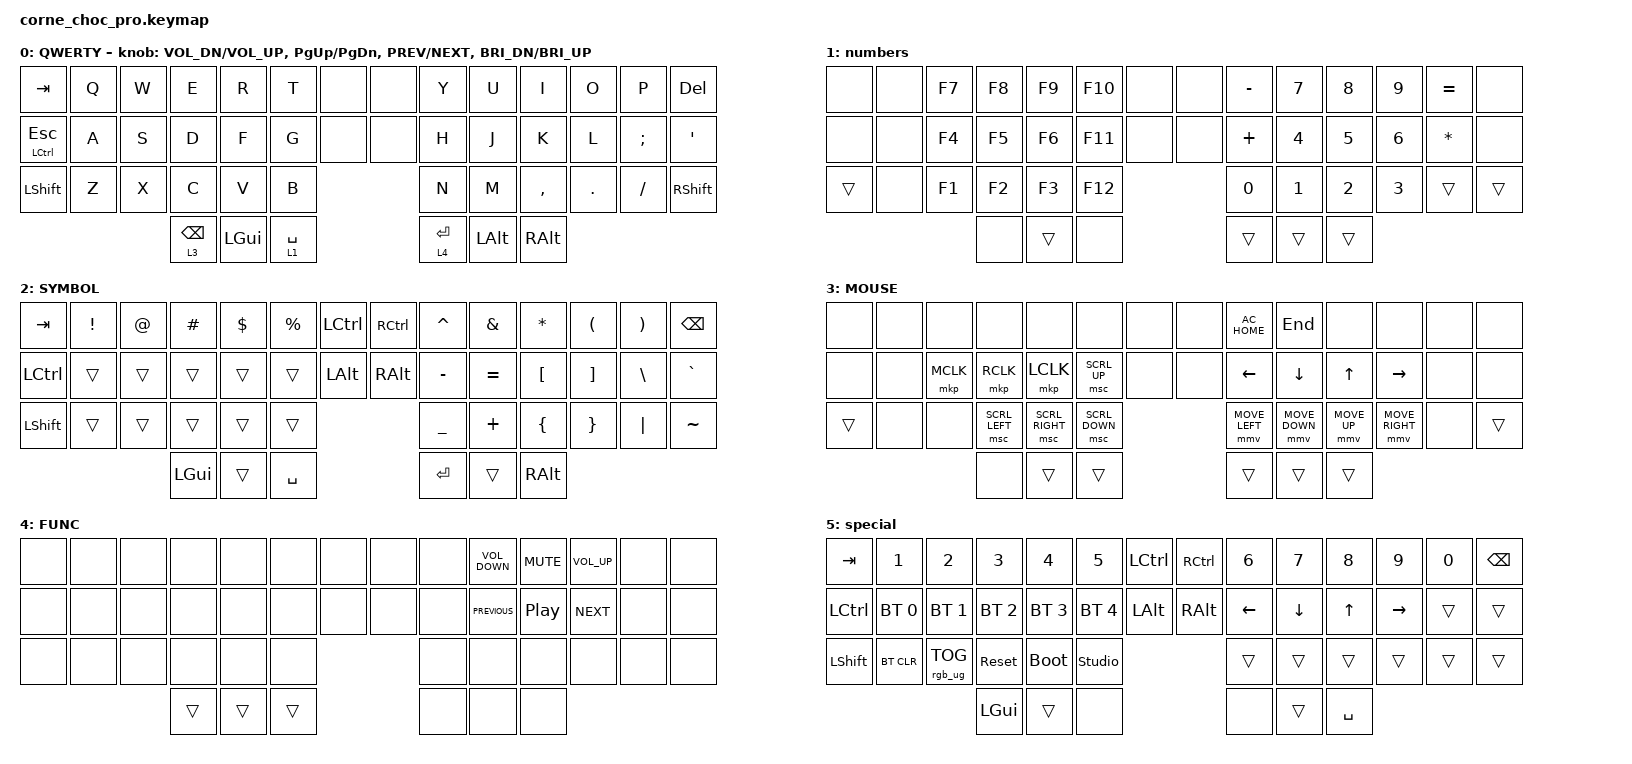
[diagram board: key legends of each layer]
/*
 * Copyright (c) 2020 The ZMK Contributors
 *
 * SPDX-License-Identifier: MIT
 */

#include <behaviors.dtsi>
#include <dt-bindings/zmk/bt.h>
#include <dt-bindings/zmk/keys.h>
#include <dt-bindings/zmk/pointing.h>
#include <dt-bindings/zmk/rgb.h>

/ {
    chosen { zmk,physical-layout = &default_layout; };
};

/ {
    combos {
        compatible = "zmk,combos";

        cpslck {
            bindings = <&kp CAPSLOCK>;
            key-positions = <39 28>;
            layers = <0>;
        };

        parentheses_left {
            bindings = <&kp LEFT_PARENTHESIS>;
            key-positions = <18 17>;
            layers = <0>;
        };

        parentheses_right {
            bindings = <&kp RIGHT_PARENTHESIS>;
            key-positions = <23 24>;
            layers = <0>;
        };

        bracket_left {
            bindings = <&kp LEFT_BRACKET>;
            key-positions = <3 4>;
            layers = <0>;
        };

        bracket_right {
            bindings = <&kp RIGHT_BRACKET>;
            key-positions = <9 10>;
            layers = <0>;
        };

        grave {
            bindings = <&kp GRAVE>;
            key-positions = <16 17>;
            layers = <0>;
        };

        brace_left {
            bindings = <&kp LEFT_BRACE>;
            key-positions = <31 32>;
            layers = <0>;
        };

        brace_right {
            bindings = <&kp RIGHT_BRACE>;
            key-positions = <35 36>;
            layers = <0>;
        };

        less_than {
            bindings = <&kp LESS_THAN>;
            key-positions = <2 3>;
            layers = <0>;
        };

        bigger_than {
            bindings = <&kp GREATER_THAN>;
            key-positions = <10 11>;
            layers = <0>;
        };

        hyphen {
            bindings = <&kp MINUS>;
            key-positions = <35 32>;
            layers = <0>;
        };

        plus {
            bindings = <&kp PLUS>;
            key-positions = <4 9>;
            layers = <0>;
        };

        equal {
            bindings = <&kp EQUAL>;
            key-positions = <23 18>;
            layers = <0>;
        };

        Pipe {
            bindings = <&kp PIPE>;
            key-positions = <30 31>;
            layers = <0>;
        };

        astrsk {
            bindings = <&kp ASTERISK>;
            key-positions = <3 10>;
            layers = <0>;
        };

        dollar {
            bindings = <&kp DOLLAR>;
            key-positions = <17 24>;
            layers = <0>;
        };

        excl {
            bindings = <&kp EXCL>;
            key-positions = <31 36>;
            layers = <0>;
        };

        ampersand {
            bindings = <&kp AMPERSAND>;
            key-positions = <19 22>;
            layers = <0>;
        };

        underscore {
            bindings = <&kp UNDERSCORE>;
            key-positions = <33 34>;
            layers = <0>;
        };

        backslash {
            bindings = <&kp BACKSLASH>;
            key-positions = <25 26>;
            layers = <0>;
        };

        tilde {
            bindings = <&kp TILDE>;
            key-positions = <15 16>;
            layers = <0>;
        };

        percentage {
            bindings = <&kp PERCENT>;
            key-positions = <5 8>;
        };

        o_umlaut {
            bindings = <&u_umlaut>;
            key-positions = <9 11>;
            layers = <0>;
        };

        a_umlaut {
            bindings = <&a_umlaut>;
            key-positions = <9 15>;
            layers = <0>;
        };

        a_ring {
            bindings = <&ae>;
            key-positions = <3 15>;
            layers = <0>;
        };

        hashtag {
            bindings = <&kp HASH>;
            key-positions = <24 25>;
        };

        snabel_a {
            bindings = <&kp AT>;
            key-positions = <36 37>;
        };
    };

    behaviors {
        hml: hml {
            compatible = "zmk,behavior-hold-tap";
            label = "HML";
            bindings = <&kp>, <&kp>;

            #binding-cells = <2>;
            tapping-term-ms = <280>;
            quick-tap-ms = <175>;
            flavor = "balanced";
            hold-trigger-on-release;
            hold-trigger-key-positions = <6 7 8 9 10 11 18 19 20 21 22 23 30 31 32 33 34 35 38 39 40 41 37 36>;
            require-prior-idle-ms = <150>;
        };

        hmr: hmr {
            compatible = "zmk,behavior-hold-tap";
            label = "HMR";
            bindings = <&kp>, <&kp>;

            #binding-cells = <2>;
            tapping-term-ms = <280>;
            quick-tap-ms = <175>;
            hold-trigger-on-release;
            hold-trigger-key-positions = <0 1 2 3 4 5 12 13 14 15 16 17 24 25 26 27 28 29 36 37 38 39 40 41>;
            flavor = "balanced";
            require-prior-idle-ms = <150>;
        };

        lrt: lrt {
            compatible = "zmk,behavior-hold-tap";
            label = "LRT";
            bindings = <&mo>, <&kp>;

            #binding-cells = <2>;
            tapping-term-ms = <150>;
            flavor = "tap-preferred";
        };
    };

    macros {
        u_umlaut: u_umlaut {
            compatible = "zmk,behavior-macro";
            #binding-cells = <0>;
            bindings = <&kp RA(U) &kp O>;
            label = "U_UMLAUT";
        };

        a_umlaut: a_umlaut {
            compatible = "zmk,behavior-macro";
            #binding-cells = <0>;
            bindings = <&kp LA(U) &kp A>;
            label = "A_UMLAUT";
        };

        ae: ae {
            compatible = "zmk,behavior-macro";
            #binding-cells = <0>;
            bindings = <&kp LA(A)>;
            label = "AE";
        };
    };

    keymap {
        compatible = "zmk,keymap";

        default_layer {
            display-name = "QWERTY";

            // --------------------------------------------------------------------------------
            // |  TAB |  Q  |  W  |  E  |  R  |  T  |  MUTE |  PP   |  Y  |  U   |  I  |  O  |  P  | BSPC |
            // | CTRL |  A  |  S  |  D  |  F  |  G  |  LALT |  RALT |  H  |  J   |  K  |  L  |  ;  |  '   |
            // | SHFT |  Z  |  X  |  C  |  V  |  B  |               |  N  |  M   |  ,  |  .  |  /  | ESC  |
            //                    | GUI | LWR | SPC |               | ENT | RSE  | ALT |

            bindings = <
&kp TAB           &kp Q  &kp W  &kp E            &kp R     &kp T        &none  &none  &kp Y        &kp U         &kp I      &kp O    &kp P     &kp DELETE
&mt LCTRL ESCAPE  &kp A  &kp S  &kp D            &kp F     &kp G        &none  &none  &kp H        &kp J         &kp K      &kp L    &kp SEMI  &kp SQT
&kp LSHFT         &kp Z  &kp X  &kp C            &kp V     &kp B                      &kp N        &kp M         &kp COMMA  &kp DOT  &kp FSLH  &kp RIGHT_SHIFT
                                &lt 3 BACKSPACE  &kp LGUI  &lt 1 SPACE                &lt 4 ENTER  &kp LEFT_ALT  &kp RALT
            >;

            sensor-bindings = <&inc_dec_kp C_VOL_DN C_VOL_UP &inc_dec_kp PG_UP PG_DN &inc_dec_kp C_PREV C_NEXT &inc_dec_kp C_BRI_DN C_BRI_UP>;
        };

        NUMBERS {
            display-name = "numbers";
            bindings = <
&none   &none  &kp F7  &kp F8  &kp F9  &kp F10  &none  &none  &kp MINUS  &kp N7  &kp N8  &kp N9  &kp EQUAL     &none
&none   &none  &kp F4  &kp F5  &kp F6  &kp F11  &none  &none  &kp PLUS   &kp N4  &kp N5  &kp N6  &kp ASTERISK  &none
&trans  &none  &kp F1  &kp F2  &kp F3  &kp F12                &kp N0     &kp N1  &kp N2  &kp N3  &trans        &trans
                       &none   &trans  &none                  &trans     &trans  &trans
            >;
        };

        raise_layer {
            display-name = "SYMBOL";

            // -----------------------------------------------------------------------------------------
            // |  TAB |  !  |  @  |  #  |  $  |  %  | LCTRL | RCTRL |  ^  |  &  |  *  |  (  |  )  | BSPC |
            // | CTRL |     |     |     |     |     |  LALT | RALT  |  -  |  =  |  [  |  ]  |  \  |  `   |
            // | SHFT |     |     |     |     |     |               |  _  |  +  |  {  |  }  | "|" |  ~   |
            //                    | GUI |     | SPC |               | ENT |     | ALT |

            bindings = <
&kp TAB    &kp EXCL  &kp AT  &kp HASH  &kp DLLR  &kp PRCNT  &kp LCTRL  &kp RCTRL  &kp CARET  &kp AMPS   &kp ASTRK  &kp LPAR  &kp RPAR  &kp BSPC
&kp LCTRL  &trans    &trans  &trans    &trans    &trans     &kp LALT   &kp RALT   &kp MINUS  &kp EQUAL  &kp LBKT   &kp RBKT  &kp BSLH  &kp GRAVE
&kp LSHFT  &trans    &trans  &trans    &trans    &trans                           &kp UNDER  &kp PLUS   &kp LBRC   &kp RBRC  &kp PIPE  &kp TILDE
                             &kp LGUI  &trans    &kp SPACE                        &kp RET    &trans     &kp RALT
            >;
        };

        MOUSE {
            display-name = "MOUSE";
            bindings = <
&none   &none  &none      &none           &none            &none           &none  &none  &kp C_AC_HOME   &kp END         &none         &none            &none  &none
&none   &none  &mkp MCLK  &mkp RCLK       &mkp LCLK        &msc SCRL_UP    &none  &none  &kp LEFT        &kp DOWN        &kp UP        &kp RIGHT        &none  &none
&trans  &none  &none      &msc SCRL_LEFT  &msc SCRL_RIGHT  &msc SCRL_DOWN                &mmv MOVE_LEFT  &mmv MOVE_DOWN  &mmv MOVE_UP  &mmv MOVE_RIGHT  &none  &trans
                          &none           &trans           &trans                        &trans          &trans          &trans
            >;
        };

        FUNC {
            bindings = <
&none  &none  &none  &none   &none   &none   &none  &none  &none  &kp C_VOLUME_DOWN  &kp K_MUTE        &kp C_VOLUME_UP  &none  &none
&none  &none  &none  &none   &none   &none   &none  &none  &none  &kp C_PREVIOUS     &kp C_PLAY_PAUSE  &kp C_NEXT       &none  &none
&none  &none  &none  &none   &none   &none                 &none  &none              &none             &none            &none  &none
                     &trans  &trans  &trans                &none  &none              &none
            >;
        };

        lower_layer {
            display-name = "special";

            // -----------------------------------------------------------------------------------------
            // |  TAB |  1  |  2  |  3  |  4  |  5    |  LCTRL | RCTRL |  6  |  7  |  8  |  9  |  0  | BSPC |
            // | CTRL | BT1 | BT2 | BT3 | BT4 | BT5   |  LALT  | RALT  | LFT | DWN |  UP | RGT |     |      |
            // | SHFT | BTCR| RGB | RST | BOOT| Unlock|        |       |     |     |     |     |     |      |
            //                    | GUI |     | SPC   |        | ENT   |     | ALT |

            bindings = <
&kp TAB    &kp N1        &kp N2           &kp N3        &kp N4        &kp N5          &kp LCTRL  &kp RCTRL  &kp N6    &kp N7    &kp N8     &kp N9     &kp N0  &kp BSPC
&kp LCTRL  &bt BT_SEL 0  &bt BT_SEL 1     &bt BT_SEL 2  &bt BT_SEL 3  &bt BT_SEL 4    &kp LALT   &kp RALT   &kp LEFT  &kp DOWN  &kp UP     &kp RIGHT  &trans  &trans
&kp LSHFT  &bt BT_CLR    &rgb_ug RGB_TOG  &sys_reset    &bootloader   &studio_unlock                        &trans    &trans    &trans     &trans     &trans  &trans
                                          &kp LGUI      &trans        &none                                 &none     &trans    &kp SPACE
            >;
        };
    };

    conditional_layers {
        compatible = "zmk,conditional-layers";

        func_layer {
            if-layers = <4 1>;
            then-layer = <5>;
        };
    };
};
